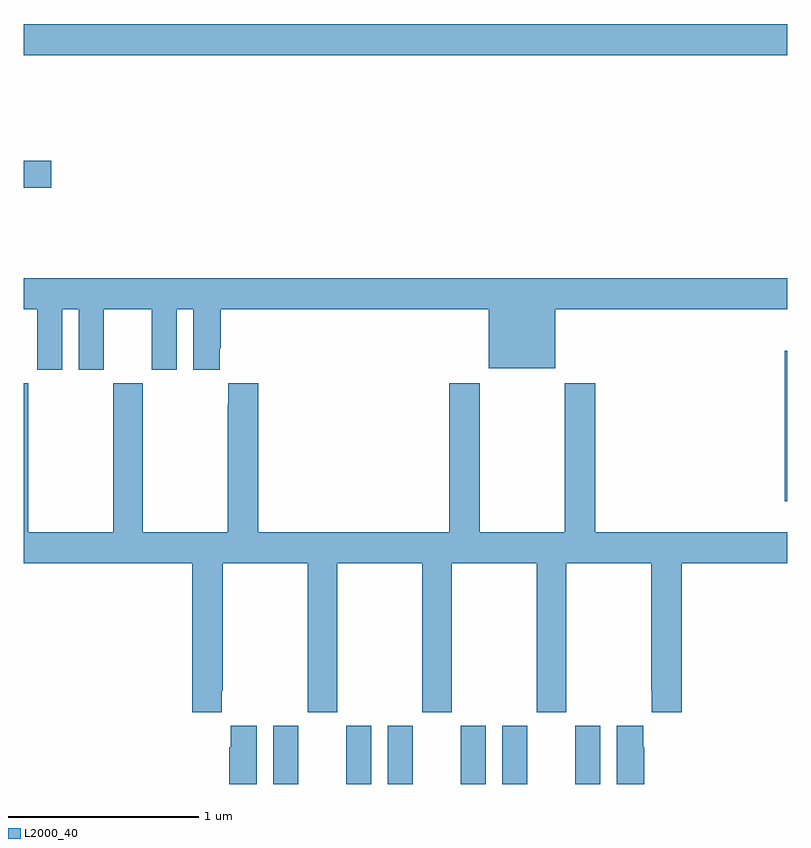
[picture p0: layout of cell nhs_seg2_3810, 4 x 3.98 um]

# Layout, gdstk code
import gdstk
lib = gdstk.Library(unit=1e-6, precision=1e-09)
def R(c, l, rs):  # rectangles x0, y0, x1, y1
    for r in rs: c.add(gdstk.rectangle(r[:2], r[2:], *l))
def P(c, l, *ps):  # polygons
    for p in ps: c.add(gdstk.Polygon(p, *l))
L2000_40 = (2000, 40)

nhs_seg2_3810 = lib.new_cell('nhs_seg2_3810')
R(nhs_seg2_3810, L2000_40, [(312.308,659.8,312.439,660.106), (312.689,659.8,312.82,660.106), (312.908,659.8,313.039,660.106), (313.289,659.8,313.42,660.106), (313.508,659.8,313.639,660.106), (313.889,659.8,314.02,660.106), (314.988,661.281,315,662.072), (311,662.926,311.143,663.068), (311,663.62,315,663.784)])
P(nhs_seg2_3810, L2000_40, [(311.2,662.288),(311.288,662.288),(311.288,661.971),(311.419,661.971),(311.419,662.288),(311.669,662.288),(311.669,661.971),(311.8,661.971),(311.8,662.288),(311.888,662.288),(311.888,661.971),(312.025,661.971),(312.025,662.083),(312.032,662.083),(312.032,662.288),(313.436,662.288),(313.436,661.979),(313.786,661.979),(313.786,662.288),(315,662.288),(315,662.452),(311,662.452),(311,662.288),(311.069,662.288),(311.069,661.971),(311.2,661.971)],
  [(312.037,660.289),(312.042,660.289),(312.042,660.956),(312.487,660.956),(312.487,660.177),(312.642,660.177),(312.642,660.956),(313.087,660.956),(313.087,660.177),(313.242,660.177),(313.242,660.956),(313.687,660.956),(313.687,660.177),(313.842,660.177),(313.842,660.956),(314.287,660.956),(314.287,660.289),(314.291,660.289),(314.291,660.177),(314.447,660.177),(314.447,660.956),(315,660.956),(315,661.12),(313.994,661.12),(313.994,661.9),(313.834,661.9),(313.834,661.12),(313.389,661.12),(313.389,661.9),(313.229,661.9),(313.229,661.12),(312.227,661.12),(312.227,661.9),(312.071,661.9),(312.071,661.787),(312.067,661.787),(312.067,661.12),(311.622,661.12),(311.622,661.9),(311.467,661.9),(311.467,661.12),(311.022,661.12),(311.022,661.9),(311,661.9),(311,660.956),(311.882,660.956),(311.882,660.177),(312.037,660.177)],
  [(312.22,660.106),(312.083,660.106),(312.083,659.993),(312.077,659.993),(312.077,659.8),(312.22,659.8)],
  [(314.252,659.993),(314.245,659.993),(314.245,660.106),(314.108,660.106),(314.108,659.8),(314.252,659.8)])

lib.write_gds('nhs_seg2_3810.gds')
